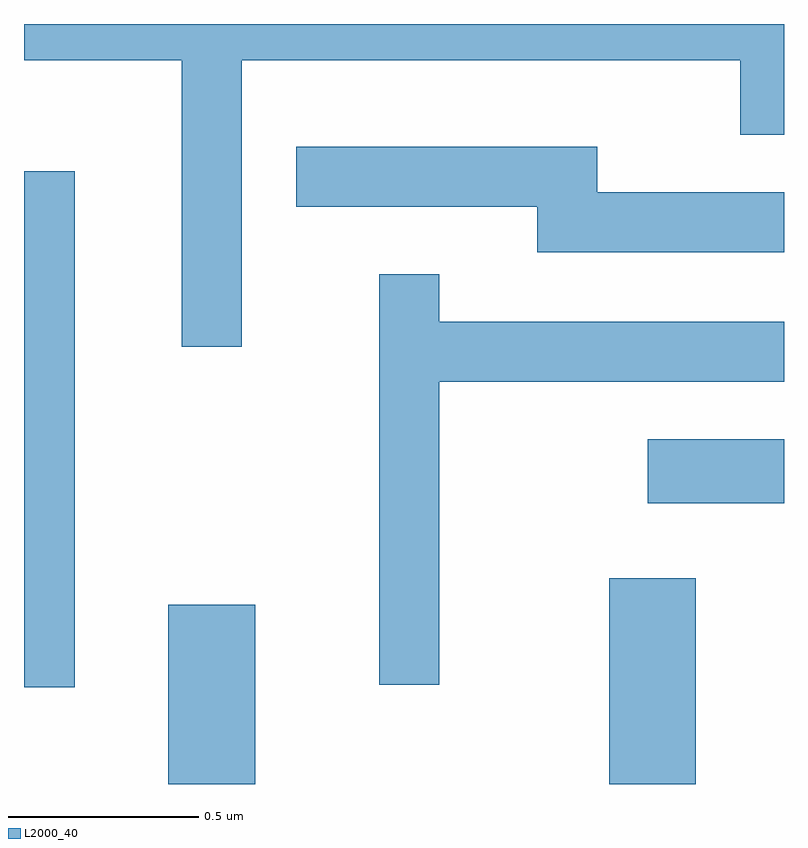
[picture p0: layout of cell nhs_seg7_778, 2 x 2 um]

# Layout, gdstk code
import gdstk
lib = gdstk.Library(unit=1e-6, precision=1e-09)
def R(c, l, rs):  # rectangles x0, y0, x1, y1
    for r in rs: c.add(gdstk.rectangle(r[:2], r[2:], *l))
def P(c, l, *ps):  # polygons
    for p in ps: c.add(gdstk.Polygon(p, *l))
L2000_40 = (2000, 40)

nhs_seg7_778 = lib.new_cell('nhs_seg7_778')
R(nhs_seg7_778, L2000_40, [(190.991,1761.252,191.219,1761.724), (192.151,1761.252,192.379,1761.794), (190.611,1761.506,190.744,1762.864), (192.253,1761.991,192.611,1762.159)])
P(nhs_seg7_778, L2000_40, [(191.184,1763.156),(192.496,1763.156),(192.496,1762.961),(192.611,1762.961),(192.611,1763.252),(190.611,1763.252),(190.611,1763.156),(191.026,1763.156),(191.026,1762.403),(191.184,1762.403)],
  [(192.611,1762.809),(192.119,1762.809),(192.119,1762.929),(191.328,1762.929),(191.328,1762.771),(191.961,1762.771),(191.961,1762.651),(192.611,1762.651)],
  [(191.704,1762.311),(192.611,1762.311),(192.611,1762.469),(191.704,1762.469),(191.704,1762.593),(191.546,1762.593),(191.546,1761.513),(191.704,1761.513)])

lib.write_gds('nhs_seg7_778.gds')
